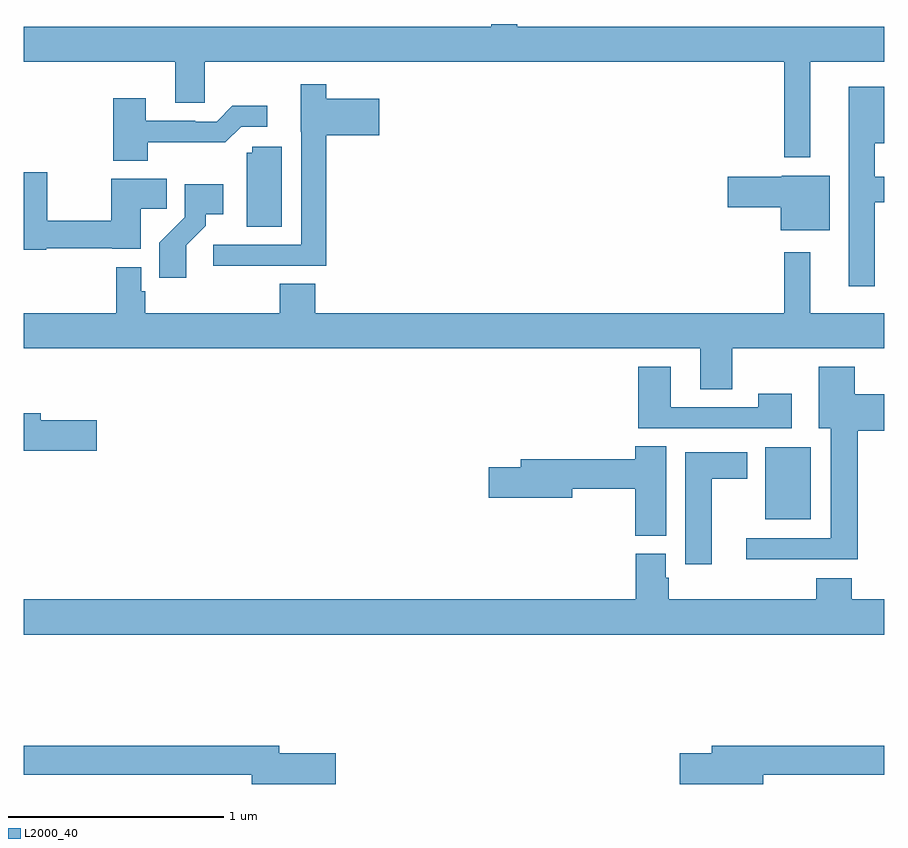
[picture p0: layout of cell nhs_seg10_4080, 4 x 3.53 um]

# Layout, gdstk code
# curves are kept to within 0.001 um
import gdstk
lib = gdstk.Library(unit=1e-6, precision=1e-09)
def R(c, l, rs):  # rectangles x0, y0, x1, y1
    for r in rs: c.add(gdstk.rectangle(r[:2], r[2:], *l))
def P(c, l, *ps):  # polygons
    for p in ps: c.add(gdstk.Polygon(p, *l))
L2000_40 = (2000, 40)

nhs_seg10_4080 = lib.new_cell('nhs_seg10_4080')
R(nhs_seg10_4080, L2000_40, [(340.448,1290.197,340.66,1290.532)])
P(nhs_seg10_4080, L2000_40, [(340.657,1292.324),(341,1292.324),(341,1292.488),(339.295,1292.488),(339.295,1292.5),(339.173,1292.5),(339.173,1292.488),(337,1292.488),(337,1292.324),(337.703,1292.324),(337.703,1292.134),(337.842,1292.134),(337.842,1292.324),(340.536,1292.324),(340.536,1291.88),(340.657,1291.88)],
  [(338.105,1291.377),(338.405,1291.377),(338.405,1291.982),(338.653,1291.982),(338.653,1292.152),(338.405,1292.152),(338.405,1292.221),(338.288,1292.221),(338.288,1291.998),(338.289,1291.998),(338.289,1291.473),(337.881,1291.473),(337.881,1291.375),(338.105,1291.375)],
  [(340.957,1291.672),(341,1291.672),(341,1291.789),(340.957,1291.789),(340.957,1291.946),(341,1291.946),(341,1292.209),(340.835,1292.209),(340.835,1291.281),(340.957,1291.281)],
  [(337.575,1291.95),(337.937,1291.949),(338.01,1292.022),(338.131,1292.022),(338.131,1292.119),(337.969,1292.119),(337.896,1292.046),(337.796,1292.046),(337.796,1292.049),(337.567,1292.049),(337.567,1292.155),(337.415,1292.155),(337.415,1291.865),(337.575,1291.865)],
  [(338.2,1291.929),(338.061,1291.929),(338.061,1291.902),(338.036,1291.902),(338.036,1291.558),(338.2,1291.558)],
  [(337.104,1291.458),(337.41,1291.458),(337.41,1291.454),(337.543,1291.454),(337.543,1291.642),(337.664,1291.642),(337.664,1291.78),(337.406,1291.78),(337.406,1291.586),(337.108,1291.586),(337.108,1291.81),(337,1291.81),(337,1291.45),(337.104,1291.45)],
  [(340.747,1291.795),(340.524,1291.795),(340.524,1291.79),(340.272,1291.79),(340.272,1291.648),(340.52,1291.648),(340.52,1291.541),(340.747,1291.541)],
  [(337.756,1291.471),(337.846,1291.561),(337.846,1291.616),(337.927,1291.616),(337.927,1291.756),(337.749,1291.756),(337.749,1291.601),(337.63,1291.482),(337.63,1291.32),(337.756,1291.32)],
  [(340.293,1290.992),(341,1290.992),(341,1291.156),(340.657,1291.156),(340.657,1291.438),(340.536,1291.438),(340.536,1291.156),(338.354,1291.156),(338.354,1291.292),(338.189,1291.292),(338.189,1291.156),(337.565,1291.156),(337.565,1291.257),(337.545,1291.257),(337.545,1291.369),(337.429,1291.369),(337.429,1291.156),(337,1291.156),(337,1290.992),(340.145,1290.992),(340.145,1290.802),(340.293,1290.802)],
  [(340.57,1290.781),(340.414,1290.781),(340.414,1290.717),(340.009,1290.717),(340.009,1290.907),(339.857,1290.907),(339.857,1290.621),(340.57,1290.621)],
  [(340.877,1290.608),(341,1290.608),(341,1290.778),(340.864,1290.778),(340.864,1290.907),(340.697,1290.907),(340.697,1290.62),(340.751,1290.62),(340.751,1290.108),(340.359,1290.108),(340.359,1290.011),(340.877,1290.011)],
  [(337.339,1290.657),(337.078,1290.657),(337.078,1290.691),(337,1290.691),(337,1290.515),(337.339,1290.515)],
  [(339.988,1290.536),(339.842,1290.536),(339.842,1290.476),(339.311,1290.476),(339.311,1290.44),(339.162,1290.44),(339.162,1290.298),(339.55,1290.298),(339.55,1290.34),(339.842,1290.34),(339.842,1290.121),(339.988,1290.121)],
  [(340.198,1290.386),(340.363,1290.386),(340.363,1290.508),(340.076,1290.508),(340.076,1289.988),(340.198,1289.988)],
  [(341,1289.824),(340.85,1289.824),(340.85,1289.923),(340.685,1289.923),(340.685,1289.824),(339.998,1289.824),(339.998,1289.925),(339.985,1289.925),(339.985,1290.036),(339.845,1290.036),(339.845,1289.824),(337,1289.824),(337,1289.66),(341,1289.66)],
  [(338.449,1289.108),(338.188,1289.108),(338.188,1289.144),(337,1289.144),(337,1289.008),(338.06,1289.008),(338.06,1288.966),(338.449,1288.966)],
  [(340.438,1289.008),(341,1289.008),(341,1289.144),(340.199,1289.144),(340.199,1289.108),(340.05,1289.108),(340.05,1288.966),(340.438,1288.966)])

lib.write_gds('nhs_seg10_4080.gds')
